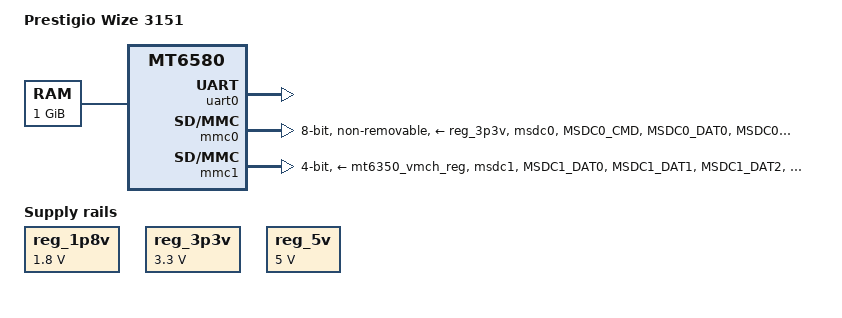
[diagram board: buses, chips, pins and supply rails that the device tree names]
/dts-v1/;
#include "mt6580.dtsi"
#include "mt6350.dtsi"
#include "skeleton.dtsi"

/ {
  model = "Prestigio Wize 3151";
  compatible = "prestigio,pmt3151";

  chosen {
    tick-timer = &gpt;
  };

  memory {
    #address-cells = <1>;
    #size-cells = <1>;
    device_type = "memory";
    reg = <0x80000000 0x40000000>;
  };
  
  reg_1p8v: regulator-1p8v {
    compatible = "regulator-fixed";
    regulator-name = "fixed-1.8V";
    regulator-min-microvolt = <1800000>;
    regulator-max-microvolt = <1800000>;
    regulator-boot-on;
    regulator-always-on;
  };

  reg_3p3v: regulator-3p3v {
    compatible = "regulator-fixed";
    regulator-name = "fixed-3.3V";
    regulator-min-microvolt = <3300000>;
    regulator-max-microvolt = <3300000>;
    regulator-boot-on;
    regulator-always-on;
  };

  reg_5v: regulator-5v {
    compatible = "regulator-fixed";
    regulator-name = "fixed-5V";
    regulator-min-microvolt = <5000000>;
    regulator-max-microvolt = <5000000>;
    regulator-boot-on;
    regulator-always-on;
  };
};

&uart0 {
  status = "okay";
};

/*&uart1 {
  status = "okay";
};*/


&pinctrl {
  mmc0_pins_default: mmc0default {
    mux {
      function = "msdc";
      groups =  "msdc0";
    };

    conf-cmd-data {
      pins = "MSDC0_CMD", "MSDC0_DAT0", "MSDC0_DAT1",
             "MSDC0_DAT2", "MSDC0_DAT3", "MSDC0_DAT4",
             "MSDC0_DAT5", "MSDC0_DAT6", "MSDC0_DAT7";
      input-enable;
      bias-pull-up;
    };

    conf-clk {
      pins = "MSDC0_CLK";
      bias-pull-down;
    };

    conf-rst {
      pins = "MSDC0_RSTB";
      bias-pull-up;
    };
  };

  mmc1_pins_default: mmc1default {
    mux {
      function = "msdc";
      groups =  "msdc1";
    };

    conf-cmd-data {
      pins = "MSDC1_DAT0", "MSDC1_DAT1", "MSDC1_DAT2",
             "MSDC1_DAT3", "MSDC1_CMD";
      input-enable;
      drive-strength = <2>;
      bias-pull-up;
    };

    conf-clk {
      pins = "MSDC1_CLK";
      drive-strength = <2>;
      bias-pull-down;
    };

    conf-ins {
      pins = "EINT1";
      output-enable;
      output-high;
    };
  };
};

&mmc0 {
  pinctrl-names = "default";
  pinctrl-0 = <&mmc0_pins_default>;
  bus-width = <8>;
  max-frequency = <208000000>;
  cap-mmc-highspeed;
  mmc-ddr-1_8v;
  mmc-hs200-1_8v;
  vmmc-supply = <&reg_3p3v>;
  vqmmc-supply = <&reg_1p8v>;
  non-removable;
  status = "okay";
};

&mmc1 {
  pinctrl-names = "default";
  pinctrl-0 = <&mmc1_pins_default>;
  bus-width = <4>;
  max-frequency = <208000000>;
  cap-sd-highspeed;
  sd-uhs-ddr50;
  sd-uhs-sdr104;
  sd-uhs-sdr12;
  sd-uhs-sdr25;
  sd-uhs-sdr50;
  vmmc-supply = <&mt6350_vmch_reg>;
  vqmmc-supply = <&mt6350_vmc_reg>;
  cd-gpios = <&gpio 17 GPIO_ACTIVE_LOW>;
  status = "okay";
};
